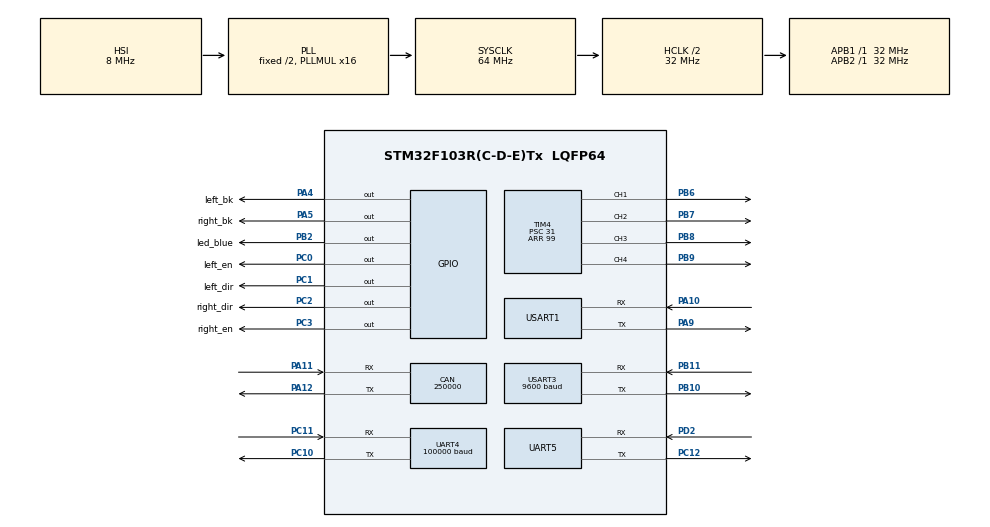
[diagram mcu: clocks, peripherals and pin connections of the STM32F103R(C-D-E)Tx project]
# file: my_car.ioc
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CAN.BS1=CAN_BS1_6TQ
CAN.CalculateBaudRate=250000
CAN.CalculateTimeBit=4000
CAN.CalculateTimeQuantum=500.0
Mcu.Family=STM32F1
Mcu.Name=STM32F103R(C-D-E)Tx
Mcu.Package=LQFP64
NVIC.PriorityGroup=NVIC_PRIORITYGROUP_4
NVIC.TIM2_IRQn=true\:0\:0\:false\:false\:true\:true\:true\:true
NVIC.UART4_IRQn=true\:0\:0\:false\:false\:true\:true\:true\:true
NVIC.UART5_IRQn=true\:0\:0\:false\:false\:true\:true\:true\:true
NVIC.USART1_IRQn=true\:0\:0\:false\:false\:true\:true\:true\:true
NVIC.USART3_IRQn=true\:0\:0\:false\:false\:true\:true\:true\:true
PA10.Mode=Asynchronous
PA10.Signal=USART1_RX
PA11.Mode=CAN_Activate
PA11.Signal=CAN_RX
PA12.Mode=CAN_Activate
PA12.Signal=CAN_TX
PA13.Mode=Serial_Wire
PA13.Signal=SYS_JTMS-SWDIO
PA14.Mode=Serial_Wire
PA14.Signal=SYS_JTCK-SWCLK
PA4.GPIO_Label=left_bk
PA4.Signal=GPIO_Output
PA5.GPIO_Label=right_bk
PA5.Signal=GPIO_Output
PA9.Mode=Asynchronous
PA9.Signal=USART1_TX
PB10.Mode=Asynchronous
PB10.Signal=USART3_TX
PB11.Mode=Asynchronous
PB11.Signal=USART3_RX
PB2.GPIO_Label=led_blue
PB2.Signal=GPIO_Output
PB6.Signal=S_TIM4_CH1
PB7.Signal=S_TIM4_CH2
PB8.Signal=S_TIM4_CH3
PB9.Signal=S_TIM4_CH4
PC0.GPIO_Label=left_en
PC0.Signal=GPIO_Output
PC1.GPIO_Label=left_dir
PC1.Signal=GPIO_Output
PC10.Mode=Asynchronous
PC10.Signal=UART4_TX
PC11.Mode=Asynchronous
PC11.Signal=UART4_RX
PC12.Mode=Asynchronous
PC12.Signal=UART5_TX
PC2.GPIO_Label=right_dir
PC2.Signal=GPIO_Output
PC3.GPIO_Label=right_en
PC3.Signal=GPIO_Output
PD2.Mode=Asynchronous
PD2.Signal=UART5_RX
ProjectManager.HeapSize=0x200
ProjectManager.StackSize=0x400
ProjectManager.TargetToolchain=STM32CubeIDE
RCC.AHBCLKDivider=RCC_SYSCLK_DIV2
RCC.AHBFreq_Value=32000000
RCC.APB1Freq_Value=32000000
RCC.APB1TimFreq_Value=32000000
RCC.APB2Freq_Value=32000000
RCC.APB2TimFreq_Value=32000000
RCC.HCLKFreq_Value=32000000
RCC.PLLMUL=RCC_PLL_MUL16
RCC.SYSCLKFreq_VALUE=64000000
RCC.SYSCLKSource=RCC_SYSCLKSOURCE_PLLCLK
RCC.USBFreq_Value=64000000
SH.S_TIM4_CH1.0=TIM4_CH1,PWM Generation1 CH1
SH.S_TIM4_CH2.0=TIM4_CH2,PWM Generation2 CH2
SH.S_TIM4_CH3.0=TIM4_CH3,PWM Generation3 CH3
SH.S_TIM4_CH4.0=TIM4_CH4,PWM Generation4 CH4
TIM2.AutoReloadPreload=TIM_AUTORELOAD_PRELOAD_ENABLE
TIM2.Period=63999
TIM2.Prescaler=99
TIM4.AutoReloadPreload=TIM_AUTORELOAD_PRELOAD_ENABLE
TIM4.Channel-PWM\ Generation1\ CH1=TIM_CHANNEL_1
TIM4.Channel-PWM\ Generation2\ CH2=TIM_CHANNEL_2
TIM4.Channel-PWM\ Generation3\ CH3=TIM_CHANNEL_3
TIM4.Channel-PWM\ Generation4\ CH4=TIM_CHANNEL_4
TIM4.Period=99
TIM4.Prescaler=31
UART4.BaudRate=100000
UART4.Parity=PARITY_EVEN
UART4.StopBits=UART_STOPBITS_2
UART4.VirtualMode=Asynchronous
UART4.WordLength=WORDLENGTH_9B
UART5.VirtualMode=Asynchronous
USART1.VirtualMode=VM_ASYNC
USART3.BaudRate=9600
USART3.Parity=PARITY_NONE
USART3.StopBits=STOPBITS_1
USART3.VirtualMode=VM_ASYNC
USART3.WordLength=WORDLENGTH_8B
VP_TIM2_VS_ClockSourceINT.Mode=Internal
board=custom

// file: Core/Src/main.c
/* USER CODE BEGIN Header */
/**
  ******************************************************************************
  * @file           : main.c
  * @brief          : Main program body
  ******************************************************************************
  * @attention
  *
  * Copyright (c) 2024 STMicroelectronics.
  * All rights reserved.
  *
  * This software is licensed under terms that can be found in the LICENSE file
  * in the root directory of this software component.
  * If no LICENSE file comes with this software, it is provided AS-IS.
  *
  ******************************************************************************
  */
/* USER CODE END Header */
#include "main.h"

/* USER CODE BEGIN Includes */
#include <stdio.h>
#include "string.h"

#include "channel_parse.h"

/* USER CODE END Includes */

/* USER CODE BEGIN PD */
#define LEN_SBUS 25
#define LEN_CHANEL 12
#define LEN_CMD 7
#define LEN_485 16

/* USER CODE END PD */

CAN_HandleTypeDef hcan;

TIM_HandleTypeDef htim2;
TIM_HandleTypeDef htim4;

UART_HandleTypeDef huart4;
UART_HandleTypeDef huart5;
UART_HandleTypeDef huart1;
UART_HandleTypeDef huart3;

/* USER CODE BEGIN PV */
// 串口临时接收缓冲区
uint8_t rxbuf1;
uint8_t rxbuf3; // 485
uint8_t rxbuf4; // sbus
uint8_t rxbuf5; // cmd_vel

// 485接收缓冲区
uint8_t g_485_rx_buf[LEN_485] = {0};
uint8_t g_485_pt = 0;

// sbus数据接收缓冲区
uint8_t g_sbus_rx_buf[LEN_SBUS] = {0};
uint8_t g_sbus_pt = 0; // 缓冲区操作下标，收完一帧数据，最高位置1

// cmd_vel接收缓冲区
uint8_t g_cmd_rx_buf[LEN_CMD] = {0};
uint8_t g_cmd_pt = 0; // 缓冲区操作下标，收完一帧数据，最高位置1

// 抱闸标记，0抱死，1松开
uint8_t bk_flag_left = 0;
uint8_t bk_flag_right = 0;

/* USER CODE END PV */

void SystemClock_Config(void);
static void MX_GPIO_Init(void);
static void MX_TIM4_Init(void);
static void MX_USART1_UART_Init(void);
static void MX_USART3_UART_Init(void);
static void MX_UART5_Init(void);
static void MX_UART4_Init(void);
static void MX_TIM2_Init(void);
static void MX_CAN_Init(void);

/* USER CODE BEGIN 0 */
int fputc(int ch, FILE *f)
{
    HAL_UART_Transmit(&huart1, (unsigned char *)&ch, 1, 0xFFFF);
    return ch;
}

/*
 * 解析sbus数据，填充到12个通道里
 */
static uint8_t parse_sbus_msg(uint16_t* channel)
{
  channel[0] = (g_sbus_rx_buf[1] >> 0 | g_sbus_rx_buf[2] << 8) & 0x07FF;
  channel[1] = (g_sbus_rx_buf[2] >> 3 | g_sbus_rx_buf[3] << 5) & 0x07FF;
  channel[2] = (g_sbus_rx_buf[3] >> 6 | g_sbus_rx_buf[4] << 2 | g_sbus_rx_buf[5] << 10) & 0x07FF;
  channel[3] = (g_sbus_rx_buf[5] >> 1 | g_sbus_rx_buf[6] << 7) & 0x07FF;
  channel[4] = (g_sbus_rx_buf[6] >> 4 | g_sbus_rx_buf[7] << 4) & 0x07FF;
  channel[5] = (g_sbus_rx_buf[7] >> 7 | g_sbus_rx_buf[8] << 1 | g_sbus_rx_buf[9] << 9) & 0x07FF;
  channel[6] = (g_sbus_rx_buf[9] >> 2 | g_sbus_rx_buf[10] << 6) & 0x07FF;
  channel[7] = (g_sbus_rx_buf[10] >> 5 | g_sbus_rx_buf[11] << 3) & 0x07FF;
  channel[8] = (g_sbus_rx_buf[12] >> 0 | g_sbus_rx_buf[13] << 8) & 0x07FF;
  channel[9] = (g_sbus_rx_buf[13] >> 3 | g_sbus_rx_buf[14] << 5) & 0x07FF;
  channel[10] = (g_sbus_rx_buf[14] >> 6 | g_sbus_rx_buf[15] << 2 | g_sbus_rx_buf[16] << 10) & 0x07FF;
  channel[11] = (g_sbus_rx_buf[16] >> 1 | g_sbus_rx_buf[17] << 7) & 0x07FF;

  // PPM协议的数据需要映射到SBUS范围（1050~1950映射到282~1722）
  for (int i = 0; i < LEN_CHANEL; i++) {
    channel[i] = (channel[i] - 282) * 5 / 8 + 1050;
  }

	return 0;
}

/* USER CODE END 0 */

int main(void)
{

  /* MCU Configuration--------------------------------------------------------*/

  /* Reset of all peripherals, Initializes the Flash interface and the Systick. */
  HAL_Init();

  /* Configure the system clock */
  SystemClock_Config();

  /* Initialize all configured peripherals */
  MX_GPIO_Init();
  MX_TIM4_Init();
  MX_USART1_UART_Init();
  MX_USART3_UART_Init();
  MX_UART5_Init();
  MX_UART4_Init();
  MX_TIM2_Init();
  MX_CAN_Init();
  /* USER CODE BEGIN 2 */
  HAL_TIM_Base_Start_IT(&htim2); // 使能定时器中断

  HAL_UART_Receive_IT(&huart1, &rxbuf1, 1); 	//enable uart
	HAL_UART_Receive_IT(&huart3, &rxbuf3, 1);
  HAL_UART_Receive_IT(&huart4, &rxbuf4, 1);
  HAL_UART_Receive_IT(&huart5, &rxbuf5, 1);

  HAL_TIM_PWM_Start(&htim4, TIM_CHANNEL_1);
  htim4.Instance->CCR1 = 0; // ARR+1为100
  HAL_TIM_PWM_Start(&htim4, TIM_CHANNEL_2);
  htim4.Instance->CCR2 = 0; // ARR+1为100
  HAL_TIM_PWM_Start(&htim4, TIM_CHANNEL_3);
  htim4.Instance->CCR3 = 0; // ARR+1为100
  HAL_TIM_PWM_Start(&htim4, TIM_CHANNEL_4);
  htim4.Instance->CCR4 = 0; // ARR+1为100

  HAL_GPIO_WritePin(GPIOC, left_en_Pin|left_dir_Pin|right_dir_Pin|right_en_Pin, GPIO_PIN_SET);

  HAL_CAN_Start(&hcan); // 开启can通讯

	printf("Start while cycle...\r\n");
  /* USER CODE END 2 */

  /* Infinite loop */
  /* USER CODE BEGIN WHILE */
  uint16_t ch_val[LEN_CHANEL] = {0}; // 遥控器12个通道的值

  while (1)
  {
    /* USER CODE END WHILE */

    /* USER CODE BEGIN 3 */
    HAL_Delay(100);

    if ((g_sbus_pt & 0x80) != 0) {
    //   // 发送g_cmd_pt的值到UART5
    //   char buffer[20];
    //   sprintf(buffer, "g_cmd_pt=%d\r\n", g_cmd_pt);
    //   HAL_UART_Transmit(&huart5, (uint8_t*)buffer, strlen(buffer), 100);
      HAL_GPIO_TogglePin(led_blue_GPIO_Port, led_blue_Pin); // 切换蓝灯状态实现闪烁
			// sbus收到数据，解析
      parse_sbus_msg(ch_val);

      // 打印解析后的SBUS通道值到UART5
      char sbus_print_buffer[256];
      int sbus_offset = 0;
      // 初始化缓冲区，确保是空字符串开始，或确保sprintf不会读取未初始化内存
      sbus_print_buffer[0] = '\0';

      sbus_offset += sprintf(sbus_print_buffer + sbus_offset, "SBUS Channels (UART5):\r\n");
      for (int i = 0; i < LEN_CHANEL; i++) {
        // 检查缓冲区是否足够容纳下一个通道信息 (估算每个通道信息约15-20字节)
        if (sbus_offset < (sizeof(sbus_print_buffer) - 20)) {
            sbus_offset += sprintf(sbus_print_buffer + sbus_offset, "CH%d: %u\r\n", i + 1, ch_val[i]);
        } else {
            // 如果缓冲区不足，则停止添加更多信息
            break;
        }
      }
      HAL_UART_Transmit(&huart5, (uint8_t*)sbus_print_buffer, sbus_offset, 100); // 使用 sbus_offset作为长度

      parse_chan_val(ch_val);
      g_sbus_pt = 0; // 清0，继续下一帧数据的接收
		}

    if ((g_cmd_pt & 0x80) != 0) {
        // 打印调试信息，确认进入此分支
        char buffer[30];
        sprintf(buffer, "CMD received: %02X %02X\r\n", g_cmd_rx_buf[2], g_cmd_rx_buf[3]);
        HAL_UART_Transmit(&huart5, (uint8_t*)buffer, strlen(buffer), 100);
      HAL_GPIO_TogglePin(led_blue_GPIO_Port, led_blue_Pin);
      HAL_Delay(500); // 延时500ms
      parse_cmd_vel(g_cmd_rx_buf[2], g_cmd_rx_buf[3]);
      g_cmd_pt = 0; // 清0，继续下一帧数据的接收
		}
  }
  /* USER CODE END 3 */
}

void SystemClock_Config(void)
{
  RCC_OscInitTypeDef RCC_OscInitStruct = {0};
  RCC_ClkInitTypeDef RCC_ClkInitStruct = {0};

  /** Initializes the RCC Oscillators according to the specified parameters
  * in the RCC_OscInitTypeDef structure.
  */
  RCC_OscInitStruct.OscillatorType = RCC_OSCILLATORTYPE_HSI;
  RCC_OscInitStruct.HSIState = RCC_HSI_ON;
  RCC_OscInitStruct.HSICalibrationValue = RCC_HSICALIBRATION_DEFAULT;
  RCC_OscInitStruct.PLL.PLLState = RCC_PLL_ON;
  RCC_OscInitStruct.PLL.PLLSource = RCC_PLLSOURCE_HSI_DIV2;
  RCC_OscInitStruct.PLL.PLLMUL = RCC_PLL_MUL16;
  if (HAL_RCC_OscConfig(&RCC_OscInitStruct) != HAL_OK)
  {
    Error_Handler();
  }

  /** Initializes the CPU, AHB and APB buses clocks
  */
  RCC_ClkInitStruct.ClockType = RCC_CLOCKTYPE_HCLK|RCC_CLOCKTYPE_SYSCLK
                              |RCC_CLOCKTYPE_PCLK1|RCC_CLOCKTYPE_PCLK2;
  RCC_ClkInitStruct.SYSCLKSource = RCC_SYSCLKSOURCE_PLLCLK;
  RCC_ClkInitStruct.AHBCLKDivider = RCC_SYSCLK_DIV2;
  RCC_ClkInitStruct.APB1CLKDivider = RCC_HCLK_DIV1;
  RCC_ClkInitStruct.APB2CLKDivider = RCC_HCLK_DIV1;

  if (HAL_RCC_ClockConfig(&RCC_ClkInitStruct, FLASH_LATENCY_2) != HAL_OK)
  {
    Error_Handler();
  }
}

static void MX_CAN_Init(void)
{

  hcan.Instance = CAN1;
  hcan.Init.Prescaler = 16;
  hcan.Init.Mode = CAN_MODE_NORMAL;
  hcan.Init.SyncJumpWidth = CAN_SJW_1TQ;
  hcan.Init.TimeSeg1 = CAN_BS1_6TQ;
  hcan.Init.TimeSeg2 = CAN_BS2_1TQ;
  hcan.Init.TimeTriggeredMode = DISABLE;
  hcan.Init.AutoBusOff = DISABLE;
  hcan.Init.AutoWakeUp = DISABLE;
  hcan.Init.AutoRetransmission = DISABLE;
  hcan.Init.ReceiveFifoLocked = DISABLE;
  hcan.Init.TransmitFifoPriority = DISABLE;
  if (HAL_CAN_Init(&hcan) != HAL_OK)
  {
    Error_Handler();
  }

}

static void MX_TIM2_Init(void)
{

  TIM_ClockConfigTypeDef sClockSourceConfig = {0};
  TIM_MasterConfigTypeDef sMasterConfig = {0};

  htim2.Instance = TIM2;
  htim2.Init.Prescaler = 99;
  htim2.Init.CounterMode = TIM_COUNTERMODE_UP;
  htim2.Init.Period = 63999;
  htim2.Init.ClockDivision = TIM_CLOCKDIVISION_DIV1;
  htim2.Init.AutoReloadPreload = TIM_AUTORELOAD_PRELOAD_ENABLE;
  if (HAL_TIM_Base_Init(&htim2) != HAL_OK)
  {
    Error_Handler();
  }
  sClockSourceConfig.ClockSource = TIM_CLOCKSOURCE_INTERNAL;
  if (HAL_TIM_ConfigClockSource(&htim2, &sClockSourceConfig) != HAL_OK)
  {
    Error_Handler();
  }
  sMasterConfig.MasterOutputTrigger = TIM_TRGO_RESET;
  sMasterConfig.MasterSlaveMode = TIM_MASTERSLAVEMODE_DISABLE;
  if (HAL_TIMEx_MasterConfigSynchronization(&htim2, &sMasterConfig) != HAL_OK)
  {
    Error_Handler();
  }

}

static void MX_TIM4_Init(void)
{

  TIM_MasterConfigTypeDef sMasterConfig = {0};
  TIM_OC_InitTypeDef sConfigOC = {0};

  htim4.Instance = TIM4;
  htim4.Init.Prescaler = 31;
  htim4.Init.CounterMode = TIM_COUNTERMODE_UP;
  htim4.Init.Period = 99;
  htim4.Init.ClockDivision = TIM_CLOCKDIVISION_DIV1;
  htim4.Init.AutoReloadPreload = TIM_AUTORELOAD_PRELOAD_ENABLE;
  if (HAL_TIM_PWM_Init(&htim4) != HAL_OK)
  {
    Error_Handler();
  }
  sMasterConfig.MasterOutputTrigger = TIM_TRGO_RESET;
  sMasterConfig.MasterSlaveMode = TIM_MASTERSLAVEMODE_DISABLE;
  if (HAL_TIMEx_MasterConfigSynchronization(&htim4, &sMasterConfig) != HAL_OK)
  {
    Error_Handler();
  }
  sConfigOC.OCMode = TIM_OCMODE_PWM1;
  sConfigOC.Pulse = 0;
  sConfigOC.OCPolarity = TIM_OCPOLARITY_HIGH;
  sConfigOC.OCFastMode = TIM_OCFAST_DISABLE;
  if (HAL_TIM_PWM_ConfigChannel(&htim4, &sConfigOC, TIM_CHANNEL_1) != HAL_OK)
  {
    Error_Handler();
  }
  if (HAL_TIM_PWM_ConfigChannel(&htim4, &sConfigOC, TIM_CHANNEL_2) != HAL_OK)
  {
    Error_Handler();
  }
  if (HAL_TIM_PWM_ConfigChannel(&htim4, &sConfigOC, TIM_CHANNEL_3) != HAL_OK)
  {
    Error_Handler();
  }
  if (HAL_TIM_PWM_ConfigChannel(&htim4, &sConfigOC, TIM_CHANNEL_4) != HAL_OK)
  {
    Error_Handler();
  }
  HAL_TIM_MspPostInit(&htim4);

}

static void MX_UART4_Init(void)
{

  huart4.Instance = UART4;
  huart4.Init.BaudRate = 100000;
  huart4.Init.WordLength = UART_WORDLENGTH_9B;
  huart4.Init.StopBits = UART_STOPBITS_2;
  huart4.Init.Parity = UART_PARITY_EVEN;
  huart4.Init.Mode = UART_MODE_TX_RX;
  huart4.Init.HwFlowCtl = UART_HWCONTROL_NONE;
  huart4.Init.OverSampling = UART_OVERSAMPLING_16;
  if (HAL_UART_Init(&huart4) != HAL_OK)
  {
    Error_Handler();
  }

}

static void MX_UART5_Init(void)
{

  huart5.Instance = UART5;
  huart5.Init.BaudRate = 115200;
  huart5.Init.WordLength = UART_WORDLENGTH_8B;
  huart5.Init.StopBits = UART_STOPBITS_1;
  huart5.Init.Parity = UART_PARITY_NONE;
  huart5.Init.Mode = UART_MODE_TX_RX;
  huart5.Init.HwFlowCtl = UART_HWCONTROL_NONE;
  huart5.Init.OverSampling = UART_OVERSAMPLING_16;
  if (HAL_UART_Init(&huart5) != HAL_OK)
  {
    Error_Handler();
  }

}

static void MX_USART1_UART_Init(void)
{

  huart1.Instance = USART1;
  huart1.Init.BaudRate = 115200;
  huart1.Init.WordLength = UART_WORDLENGTH_8B;
  huart1.Init.StopBits = UART_STOPBITS_1;
  huart1.Init.Parity = UART_PARITY_NONE;
  huart1.Init.Mode = UART_MODE_TX_RX;
  huart1.Init.HwFlowCtl = UART_HWCONTROL_NONE;
  huart1.Init.OverSampling = UART_OVERSAMPLING_16;
  if (HAL_UART_Init(&huart1) != HAL_OK)
  {
    Error_Handler();
  }

}

static void MX_USART3_UART_Init(void)
{

  huart3.Instance = USART3;
  huart3.Init.BaudRate = 9600;
  huart3.Init.WordLength = UART_WORDLENGTH_8B;
  huart3.Init.StopBits = UART_STOPBITS_1;
  huart3.Init.Parity = UART_PARITY_NONE;
  huart3.Init.Mode = UART_MODE_TX_RX;
  huart3.Init.HwFlowCtl = UART_HWCONTROL_NONE;
  huart3.Init.OverSampling = UART_OVERSAMPLING_16;
  if (HAL_UART_Init(&huart3) != HAL_OK)
  {
    Error_Handler();
  }

}

static void MX_GPIO_Init(void)
{
  GPIO_InitTypeDef GPIO_InitStruct = {0};

  /* GPIO Ports Clock Enable */
  __HAL_RCC_GPIOC_CLK_ENABLE();
  __HAL_RCC_GPIOA_CLK_ENABLE();
  __HAL_RCC_GPIOB_CLK_ENABLE();
  __HAL_RCC_GPIOD_CLK_ENABLE();

  /*Configure GPIO pin Output Level */
  HAL_GPIO_WritePin(GPIOC, left_en_Pin|left_dir_Pin|right_dir_Pin|right_en_Pin, GPIO_PIN_RESET);

  /*Configure GPIO pin Output Level */
  HAL_GPIO_WritePin(GPIOA, left_bk_Pin|right_bk_Pin, GPIO_PIN_RESET);

  /*Configure GPIO pin Output Level */
  HAL_GPIO_WritePin(led_blue_GPIO_Port, led_blue_Pin, GPIO_PIN_RESET);

  /*Configure GPIO pins : left_en_Pin left_dir_Pin right_dir_Pin right_en_Pin */
  GPIO_InitStruct.Pin = left_en_Pin|left_dir_Pin|right_dir_Pin|right_en_Pin;
  GPIO_InitStruct.Mode = GPIO_MODE_OUTPUT_PP;
  GPIO_InitStruct.Pull = GPIO_NOPULL;
  GPIO_InitStruct.Speed = GPIO_SPEED_FREQ_LOW;
  HAL_GPIO_Init(GPIOC, &GPIO_InitStruct);

  /*Configure GPIO pins : left_bk_Pin right_bk_Pin */
  GPIO_InitStruct.Pin = left_bk_Pin|right_bk_Pin;
  GPIO_InitStruct.Mode = GPIO_MODE_OUTPUT_PP;
  GPIO_InitStruct.Pull = GPIO_NOPULL;
  GPIO_InitStruct.Speed = GPIO_SPEED_FREQ_LOW;
  HAL_GPIO_Init(GPIOA, &GPIO_InitStruct);

  /*Configure GPIO pin : led_blue_Pin */
  GPIO_InitStruct.Pin = led_blue_Pin;
  GPIO_InitStruct.Mode = GPIO_MODE_OUTPUT_PP;
  GPIO_InitStruct.Pull = GPIO_NOPULL;
  GPIO_InitStruct.Speed = GPIO_SPEED_FREQ_LOW;
  HAL_GPIO_Init(led_blue_GPIO_Port, &GPIO_InitStruct);

}

/* USER CODE BEGIN 4 */
void HAL_UART_RxCpltCallback(UART_HandleTypeDef *huart)
{
  /*串口1*/
  if (huart->Instance == USART1) {
    HAL_UART_Transmit(&huart1, &rxbuf1, 1, 1000);
    HAL_UART_Receive_IT(&huart1, &rxbuf1, 1);
  }

  /*串口3*/
  if (huart->Instance == USART3) {
    // 缓冲区溢出，重新接收
    if (g_485_pt > (LEN_485 - 1)) {
      g_485_pt = 0;
    }
    // 存入缓冲区
    g_485_rx_buf[g_485_pt] = rxbuf3;
    g_485_pt++;
    HAL_UART_Receive_IT(&huart3, &rxbuf3, 1);
  }

  /*串口4*/
  if (huart->Instance == UART4) {
    if ((g_sbus_pt & 0x80) == 0) { // 接收未完成
			if (g_sbus_pt > (LEN_SBUS - 1)) { // 缓冲区溢出，重新接收
				g_sbus_pt = 0;
			}
			// 存入缓冲区
			g_sbus_rx_buf[g_sbus_pt] = rxbuf4;
			g_sbus_pt++;

		  // 判断数据头
			if (g_sbus_pt == 1) {
				if (rxbuf4 != 0x0f) {
					g_sbus_pt--; // 回滚，重新存
				}
			} else if (g_sbus_pt == 25) {
				// 判断数据尾
				if (rxbuf4 == 0x00) {
					g_sbus_pt |= 0x80; // 完成一帧数据的接收
				} else {
          g_sbus_pt = 0; // 数据错误，重新存
        }
			}
		}
    HAL_UART_Receive_IT(&huart4, &rxbuf4, 1);
  }

  /*串口5*/
  if (huart->Instance == UART5) {
    if ((g_cmd_pt & 0x80) == 0) { // 接收未完成
			if (g_cmd_pt > (LEN_CMD - 1)) { // 缓冲区溢出，重新接收
				g_cmd_pt = 0;
			}
			// 存入缓冲区
			g_cmd_rx_buf[g_cmd_pt] = rxbuf5;
			g_cmd_pt++;

		  // 判断数据头
			if ((g_cmd_pt == 1) && (rxbuf5 != 0xff)) {
					g_cmd_pt--; // 回滚，重新存
			} else if ((g_cmd_pt == 2) && (rxbuf5 != 0x2)) {
					g_cmd_pt--; // 回滚，重新存
			} else if (g_cmd_pt == 5) {
				// 判断数据尾
				if (rxbuf5 == 0x00) {
					g_cmd_pt |= 0x80; // 完成一帧数据的接收
				} else {
          g_cmd_pt = 0; // 数据错误，重新存
        }
			}
		}
    HAL_UART_Receive_IT(&huart5, &rxbuf5, 1);
  }
}

void HAL_TIM_PeriodElapsedCallback(TIM_HandleTypeDef *htim)
{
	if(htim->Instance == TIM2) {
    // 200ms检查一次
    // 左侧
    static uint8_t count_left = 0;
    count_left++;
    if (bk_flag_left != 0) {
      count_left = 0;
    }
    if (count_left >= 25) { // 5s后抱闸
      count_left = 0;
		  HAL_GPIO_WritePin(GPIOA, left_bk_Pin, GPIO_PIN_RESET);
    }

    // 右侧
    static uint8_t count_right = 0;
    count_right++;
    if (bk_flag_right != 0) {
      count_right = 0;
    }
    if (count_right >= 25) { // 5s后抱闸
      count_right = 0;
		  HAL_GPIO_WritePin(GPIOA, right_bk_Pin, GPIO_PIN_RESET);
    }
	}
}

/* USER CODE END 4 */

void Error_Handler(void)
{
  __disable_irq();
  while (1)
  {
  }
}
